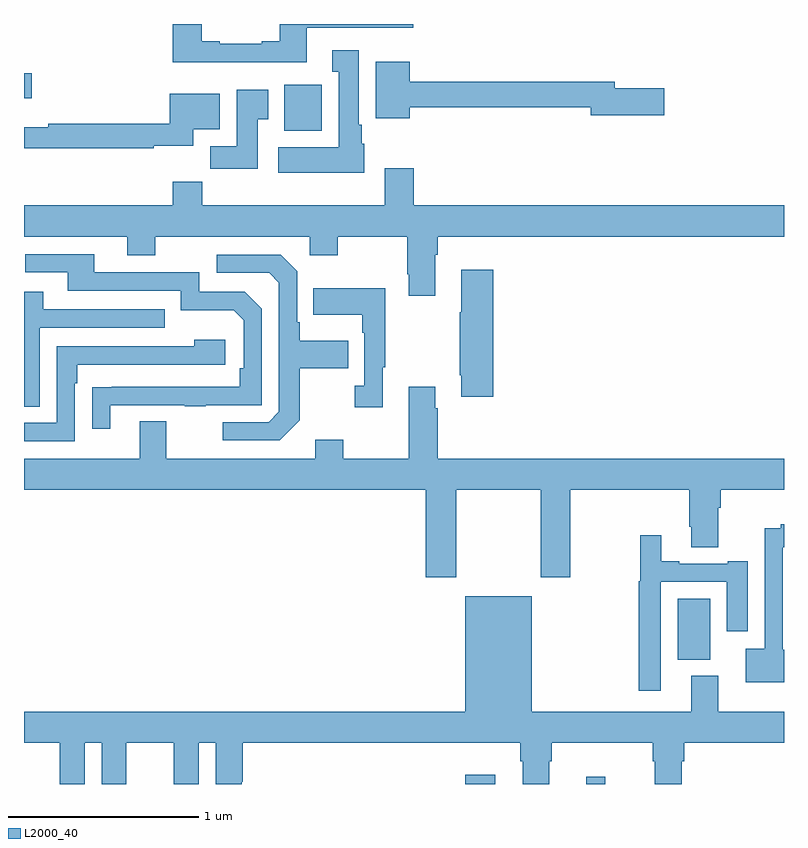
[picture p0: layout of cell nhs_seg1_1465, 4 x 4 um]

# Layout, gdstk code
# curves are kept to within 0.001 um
import gdstk
lib = gdstk.Library(unit=1e-6, precision=1e-09)
def R(c, l, rs):  # rectangles x0, y0, x1, y1
    for r in rs: c.add(gdstk.rectangle(r[:2], r[2:], *l))
def P(c, l, *ps):  # polygons
    for p in ps: c.add(gdstk.Polygon(p, *l))
L2000_40 = (2000, 40)

nhs_seg1_1465 = lib.new_cell('nhs_seg1_1465')
R(nhs_seg1_1465, L2000_40, [(193.322,534.199,193.48,534.247), (193.958,534.199,194.06,534.238), (194.441,534.854,194.611,535.174), (192.371,537.638,192.568,537.88), (191,537.809,191.041,537.939)])
P(nhs_seg1_1465, L2000_40, [(192.487,538.179),(193.048,538.179),(193.048,538.199),(192.347,538.199),(192.347,538.108),(192.251,538.108),(192.251,538.095),(192.031,538.095),(192.031,538.108),(191.935,538.108),(191.935,538.199),(191.783,538.199),(191.783,537.998),(192.487,537.998)],
  [(192.79,537.57),(192.778,537.57),(192.778,537.67),(192.763,537.67),(192.763,538.06),(192.623,538.06),(192.623,537.947),(192.656,537.947),(192.656,537.55),(192.339,537.55),(192.339,537.416),(192.79,537.416)],
  [(193.03,537.76),(193.982,537.76),(193.982,537.718),(194.371,537.718),(194.371,537.86),(194.11,537.86),(194.11,537.896),(193.03,537.896),(193.03,538),(192.851,538),(192.851,537.704),(193.03,537.704)],
  [(192.229,537.697),(192.286,537.697),(192.286,537.853),(192.119,537.853),(192.119,537.556),(191.98,537.556),(191.98,537.438),(192.229,537.438)],
  [(191.684,537.557),(191.89,537.557),(191.89,537.644),(192.031,537.644),(192.031,537.832),(191.768,537.832),(191.768,537.674),(191.128,537.674),(191.128,537.655),(191,537.655),(191,537.546),(191.684,537.546)],
  [(193.165,536.984),(193.178,536.984),(193.178,537.08),(195,537.08),(195,537.244),(193.052,537.244),(193.052,537.439),(192.899,537.439),(192.899,537.244),(191.939,537.244),(191.939,537.368),(191.783,537.368),(191.783,537.244),(191,537.244),(191,537.08),(191.543,537.08),(191.543,536.981),(191.691,536.981),(191.691,537.08),(192.504,537.08),(192.504,536.981),(192.651,536.981),(192.651,537.08),(193.018,537.08),(193.018,536.881),(193.025,536.881),(193.025,536.769),(193.165,536.769)],
  [(191.455,536.193),(191.845,536.193),(191.845,536.188),(191.957,536.188),(191.957,536.193),(192.252,536.193),(192.252,536.7),(192.162,536.79),(191.922,536.79),(191.922,536.892),(191.371,536.892),(191.371,536.988),(191.007,536.988),(191.007,536.892),(191.231,536.892),(191.231,536.796),(191.826,536.796),(191.826,536.693),(192.103,536.693),(192.156,536.64),(192.156,536.386),(192.136,536.386),(192.136,536.289),(191.359,536.288),(191.359,536.07),(191.455,536.07)],
  [(192.451,536.113),(192.451,536.386),(192.707,536.386),(192.707,536.533),(192.451,536.533),(192.451,536.629),(192.438,536.629),(192.438,536.898),(192.351,536.985),(192.015,536.985),(192.015,536.889),(192.291,536.889),(192.342,536.838),(192.342,536.157),(192.288,536.103),(192.045,536.103),(192.045,536.007),(192.345,536.007)],
  [(193.469,536.905),(193.301,536.905),(193.301,536.681),(193.294,536.681),(193.294,536.35),(193.301,536.35),(193.301,536.238),(193.469,536.238)],
  [(192.889,536.393),(192.901,536.393),(192.901,536.809),(192.523,536.809),(192.523,536.669),(192.78,536.669),(192.78,536.573),(192.792,536.573),(192.792,536.294),(192.741,536.294),(192.741,536.181),(192.889,536.181)],
  [(191.082,536.601),(191.741,536.601),(191.741,536.697),(191.101,536.697),(191.101,536.791),(191,536.791),(191,536.185),(191.082,536.185)],
  [(191.268,536.309),(191.281,536.309),(191.281,536.406),(192.058,536.406),(192.058,536.536),(191.897,536.536),(191.897,536.502),(191.172,536.502),(191.172,536.1),(191,536.1),(191,536.004),(191.268,536.004)],
  [(193.275,535.748),(193.72,535.748),(193.72,535.287),(193.875,535.287),(193.875,535.748),(194.501,535.748),(194.501,535.552),(194.513,535.552),(194.513,535.444),(194.653,535.444),(194.653,535.652),(194.666,535.652),(194.666,535.748),(195,535.748),(195,535.912),(193.178,535.912),(193.178,536.177),(193.165,536.177),(193.165,536.29),(193.025,536.29),(193.025,535.912),(192.681,535.912),(192.681,536.011),(192.533,536.011),(192.533,535.912),(191.749,535.912),(191.749,536.107),(191.609,536.107),(191.609,535.912),(191,535.912),(191,535.748),(193.115,535.748),(193.115,535.287),(193.275,535.287)],
  [(195,534.906),(194.994,534.906),(194.994,535.446),(195,535.446),(195,535.567),(194.982,535.567),(194.982,535.544),(194.898,535.544),(194.898,534.91),(194.798,534.91),(194.798,534.734),(195,534.734)],
  [(194.352,535.263),(194.699,535.263),(194.699,535.002),(194.809,535.002),(194.809,535.372),(194.705,535.372),(194.705,535.359),(194.449,535.359),(194.449,535.372),(194.353,535.372),(194.353,535.507),(194.244,535.507),(194.244,535.266),(194.236,535.266),(194.236,534.69),(194.352,534.69)],
  [(191,534.416),(191.189,534.416),(191.189,534.199),(191.32,534.199),(191.32,534.416),(191.408,534.416),(191.408,534.199),(191.539,534.199),(191.539,534.416),(191.789,534.416),(191.789,534.199),(191.92,534.199),(191.92,534.416),(192.008,534.416),(192.008,534.199),(192.145,534.199),(192.145,534.211),(192.152,534.211),(192.152,534.416),(193.613,534.416),(193.613,534.32),(193.625,534.32),(193.625,534.199),(193.765,534.199),(193.765,534.32),(193.778,534.32),(193.778,534.416),(194.309,534.416),(194.309,534.32),(194.321,534.32),(194.321,534.199),(194.461,534.199),(194.461,534.32),(194.474,534.32),(194.474,534.416),(195,534.416),(195,534.58),(194.653,534.58),(194.653,534.769),(194.513,534.769),(194.513,534.58),(193.672,534.58),(193.672,535.186),(193.322,535.186),(193.322,534.58),(191,534.58)])

lib.write_gds('nhs_seg1_1465.gds')
